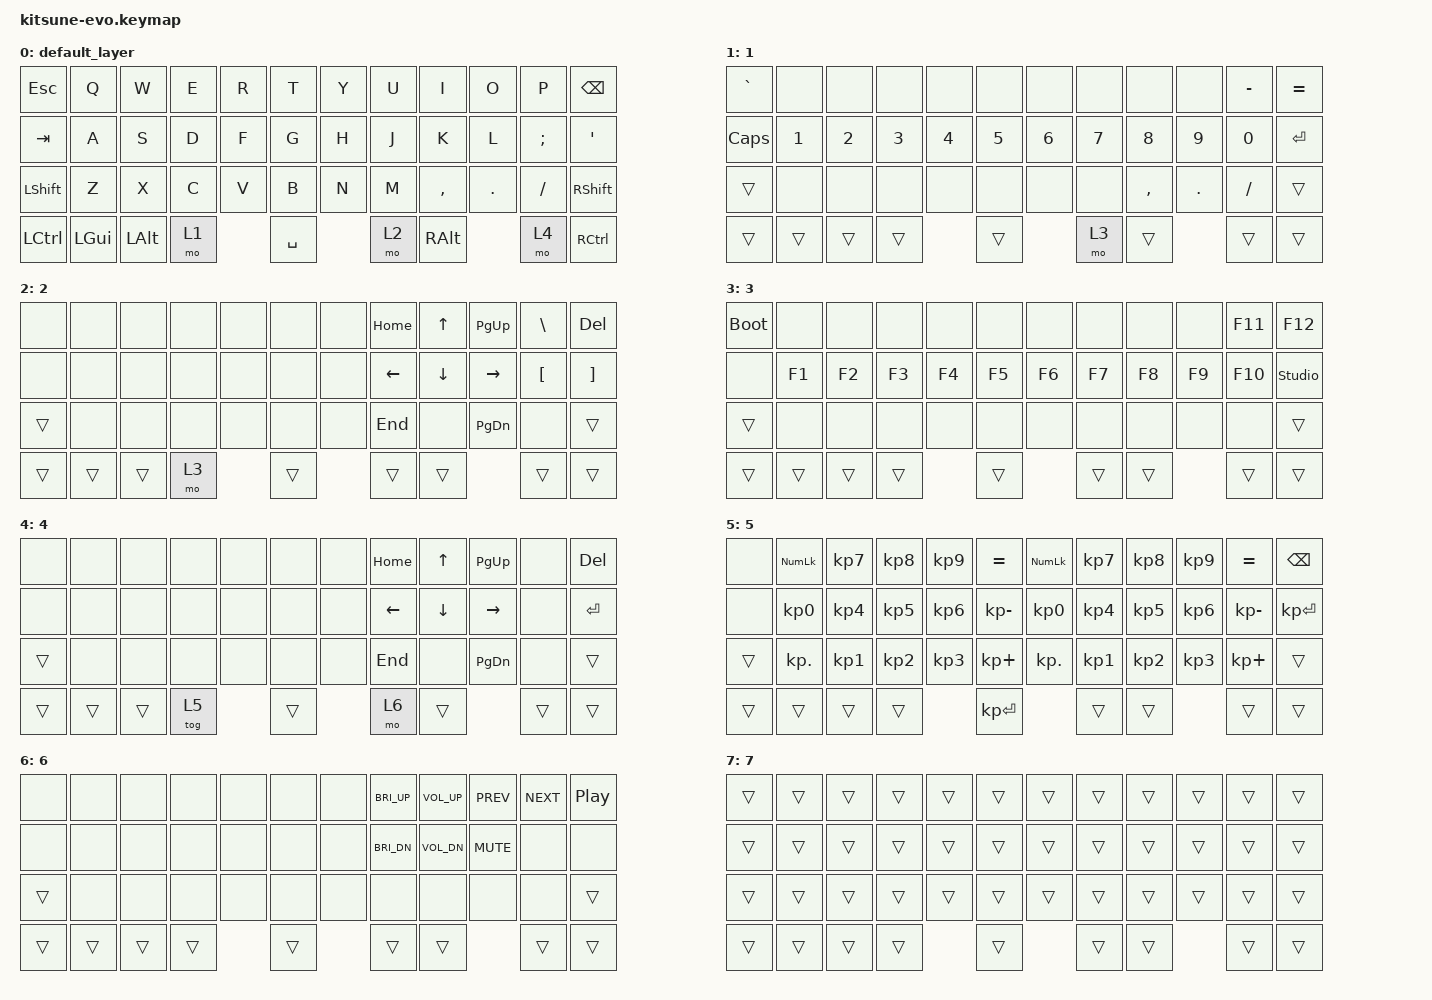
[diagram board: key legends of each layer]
#include <behaviors.dtsi>
#include <dt-bindings/zmk/keys.h>

// To add bluetooth behviours

/*
* ┌──┐┌──┐┌──┐┌──┐┌──┐┌──┐┌──┐┌──┐┌──┐┌──┐┌──┐┌─────┐
* │  ││  ││  ││  ││  ││  ││  ││  ││  ││  ││  ││     │
* └──┘└──┘└──┘└──┘└──┘└──┘└──┘└──┘└──┘└──┘└──┘└─────┘
* ┌───┐┌──┐┌──┐┌──┐┌──┐┌──┐┌──┐┌──┐┌──┐┌──┐┌──┐┌────┐
* │   ││  ││  ││  ││  ││  ││  ││  ││  ││  ││  ││    │
* └───┘└──┘└──┘└──┘└──┘└──┘└──┘└──┘└──┘└──┘└──┘└────┘
* ┌─────┐┌──┐┌──┐┌──┐┌──┐┌──┐┌──┐┌──┐┌──┐┌──┐┌──┐┌──┐
* │     ││  ││  ││  ││  ││  ││  ││  ││  ││  ││  ││  │
* └─────┘└──┘└──┘└──┘└──┘└──┘└──┘└──┘└──┘└──┘└──┘└──┘
* ┌───┐┌───┐┌───┐┌───┐┌─────────┐┌───┐┌───┐┌───┐┌───┐
* │   ││   ││   ││   ││         ││   ││   ││   ││   │
* └───┘└───┘└───┘└───┘└─────────┘└───┘└───┘└───┘└───┘
*/

/ {
    keymap {
        compatible = "zmk,keymap";

        default_layer {
            bindings = <
                &kp ESC   &kp Q    &kp W    &kp E &kp R &kp T     &kp Y &kp U &kp I     &kp O   &kp P     &kp BSPC
                &kp TAB   &kp A    &kp S    &kp D &kp F &kp G     &kp H &kp J &kp K     &kp L   &kp SEMI  &kp SQT
                &kp LSHFT &kp Z    &kp X    &kp C &kp V &kp B     &kp N &kp M &kp COMMA &kp DOT &kp SLASH &kp RSHFT
                &kp LCTRL &kp LGUI &kp LALT &mo 1       &kp SPACE       &mo 2 &kp RALT          &mo 4     &kp RCTRL
            >;
        };

        1 {
            bindings = <
                &kp GRAVE &none  &none  &none  &none  &none  &none  &none  &none     &none   &kp MINUS &kp EQUAL
                &kp CAPS  &kp N1 &kp N2 &kp N3 &kp N4 &kp N5 &kp N6 &kp N7 &kp N8    &kp N9  &kp N0    &kp ENTER
                &trans    &none  &none  &none  &none  &none  &none  &none  &kp COMMA &kp DOT &kp SLASH &trans
                &trans    &trans &trans &trans        &trans        &mo 3  &trans            &trans    &trans
            >;
        };

        2 {
            bindings = <
                &none  &none  &none  &none  &none  &none  &none  &kp HOME &kp UP   &kp PG_UP &kp BSLH &kp DEL
                &none  &none  &none  &none  &none  &none  &none  &kp LEFT &kp DOWN &kp RIGHT &kp LBKT &kp RBKT
                &trans &none  &none  &none  &none  &none  &none  &kp END  &none    &kp PG_DN &none    &trans
                &trans &trans &trans &mo 3         &trans        &trans   &trans             &trans   &trans
            >;
        };

        3 {
            bindings = <
                &bootloader &none  &none  &none  &none  &none  &none  &none  &none  &none  &kp F11 &kp F12
                &none       &kp F1 &kp F2 &kp F3 &kp F4 &kp F5 &kp F6 &kp F7 &kp F8 &kp F9 &kp F10 &studio_unlock
                &trans      &none  &none  &none  &none  &none  &none  &none  &none  &none  &none   &trans
                &trans      &trans &trans &trans        &trans        &trans &trans        &trans  &trans
            >;
        };

        4 {
            bindings = <
                &none  &none  &none  &none  &none &none  &none &kp HOME &kp UP   &kp PG_UP &none  &kp DEL
                &none  &none  &none  &none  &none &none  &none &kp LEFT &kp DOWN &kp RIGHT &none  &kp ENTER
                &trans &none  &none  &none  &none &none  &none &kp END  &none    &kp PG_DN &none  &trans
                &trans &trans &trans &tog 5       &trans       &mo 6    &trans             &trans &trans
            >;
        };

        5 {
            bindings = <
                &none  &kp KP_NUM &kp KP_N7 &kp KP_N8 &kp KP_N9 &kp EQUAL    &kp KP_NUM &kp KP_N7 &kp KP_N8 &kp KP_N9 &kp EQUAL    &kp BSPC
                &none  &kp KP_N0  &kp KP_N4 &kp KP_N5 &kp KP_N6 &kp KP_MINUS &kp KP_N0  &kp KP_N4 &kp KP_N5 &kp KP_N6 &kp KP_MINUS &kp KP_ENTER
                &trans &kp KP_DOT &kp KP_N1 &kp KP_N2 &kp KP_N3 &kp KP_PLUS  &kp KP_DOT &kp KP_N1 &kp KP_N2 &kp KP_N3 &kp KP_PLUS  &trans
                &trans &trans     &trans    &trans              &kp KP_ENTER            &trans    &trans              &trans       &trans
            >;
        };

        6 {
            bindings = <
                &none  &none  &none  &none  &none &none  &none &kp C_BRI_UP &kp C_VOL_UP &kp C_PREV &kp C_NEXT &kp C_PP
                &none  &none  &none  &none  &none &none  &none &kp C_BRI_DN &kp C_VOL_DN &kp C_MUTE &none      &none
                &trans &none  &none  &none  &none &none  &none &none        &none        &none      &none      &trans
                &trans &trans &trans &trans       &trans       &trans       &trans                  &trans     &trans
            >;
        };

        7 {
            bindings = <
                &trans &trans &trans &trans &trans &trans &trans &trans &trans &trans &trans &trans
                &trans &trans &trans &trans &trans &trans &trans &trans &trans &trans &trans &trans
                &trans &trans &trans &trans &trans &trans &trans &trans &trans &trans &trans &trans
                &trans &trans &trans &trans        &trans        &trans &trans        &trans &trans
            >;
        };
    };
};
